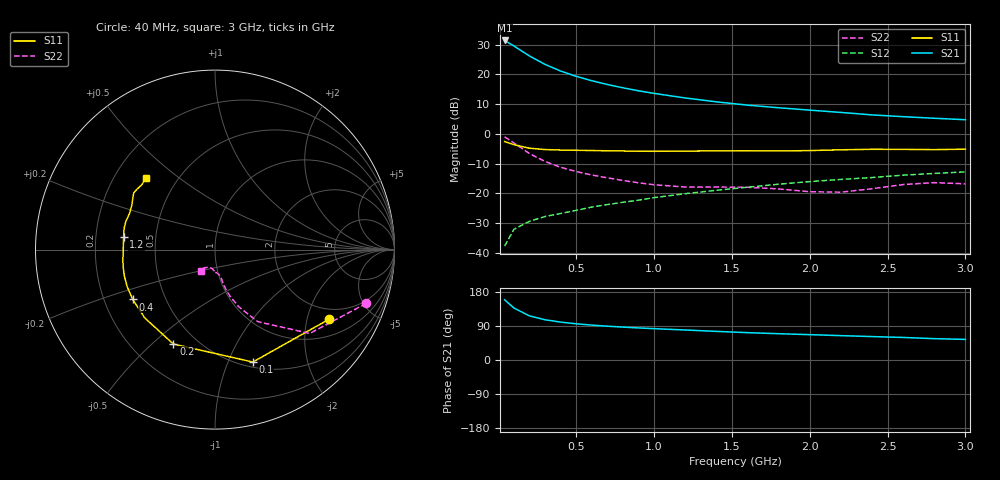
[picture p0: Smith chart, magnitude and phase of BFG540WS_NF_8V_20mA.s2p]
! Filename:  BFG540WI.S2P  Version:  4.0
! Philips part #: BFG540  Date: Jun 1994
! Bias condition: Vce=8.0V, Ic=20.0mA
! IN LINE PINNING: same data as with cross emitter pinning.
#  MHz  S  MA  R  50
! Freq  S11  S21  S12  S22  !GUM [dB]
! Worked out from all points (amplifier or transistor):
!   21 points, 40 MHz to 3 GHz, reference 50 ohm
!   highest |S21| = 31.4 dB at 40 MHz (marker M1)
!   |S21| within 3 dB of that: start of sweep to 133.9 MHz
!   unconditionally stable (mu >= 1): 823.9 MHz to end of sweep
!   at 300 MHz: K = 0.63, MSG = 25.6 dB, |S12| = -27.7 dB
!   at 1 GHz: K = 1.05, MAG = 16.2 dB, |S12| = -21.4 dB
!   at 3 GHz: K = 1.08, MAG = 7.1 dB, |S12| = -12.8 dB
!   lowest NFmin = 1.50 dB at 900 MHz
!   S11 on the Smith chart (normalised r, x): 40 MHz: 1.56, -2.72; 100 MHz: 0.55, -1.23; 200 MHz: 0.37, -0.59; 400 MHz: 0.32, -0.25; 1.2 GHz: 0.32, +0.06; 3 GHz: 0.33, +0.39
40  0.743 -31.6  37.21 158.9  0.013 73.5  0.894 -19.6
100  0.661 -71.4  30.03 137.1  0.025 58.9  0.705 -41.5
200  0.575 -113.8  20.39 116.4  0.034 51.5  0.467 -59.3
300  0.546 -135.8  14.72 106.2  0.041 51.8  0.344 -67.5
400  0.536 -148.8  11.4 100.0  0.046 54.2  0.275 -72.0
500  0.531 -157.4  9.279 95.5  0.052 56.7  0.233 -74.5
600  0.526 -163.8  7.832 92.1  0.059 59.2  0.204 -75.9
700  0.521 -168.8  6.767 89.2  0.065 61.4  0.183 -76.8
800  0.517 -173.3  5.958 86.8  0.071 63.1  0.165 -77.7
900  0.512 -177.6  5.311 84.6  0.077 64.8  0.151 -79.1
1000  0.511 178.5  4.799 82.7  0.085 66.1  0.14 -81.1
1200  0.514 172.1  4.022 79.2  0.099 67.6  0.128 -86.8
1400  0.52 166.9  3.463 75.5  0.113 68.5  0.128 -91.3
1600  0.521 162.5  3.046 72.2  0.127 69.8  0.127 -92.4
1800  0.517 157.3  2.751 69.4  0.143 69.2  0.119 -92.4
2000  0.525 151.9  2.51 66.9  0.158 69.4  0.107 -98.2
2200  0.541 147.7  2.297 64.3  0.172 69.2  0.105 -111.1
2400  0.552 145.1  2.088 61.8  0.185 69.7  0.12 -121.6
2600  0.55 142.4  1.949 59.5  0.203 69.2  0.141 -123.6
2800  0.545 138.7  1.833 56.3  0.217 67.7  0.152 -121.5
3000  0.554 133.7  1.733 54.4  0.23 67.4  0.145 -122.8
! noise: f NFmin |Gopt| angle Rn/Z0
900  1.5  0.232  140  0.14
2000  2.2  0.49  -163  0.11
